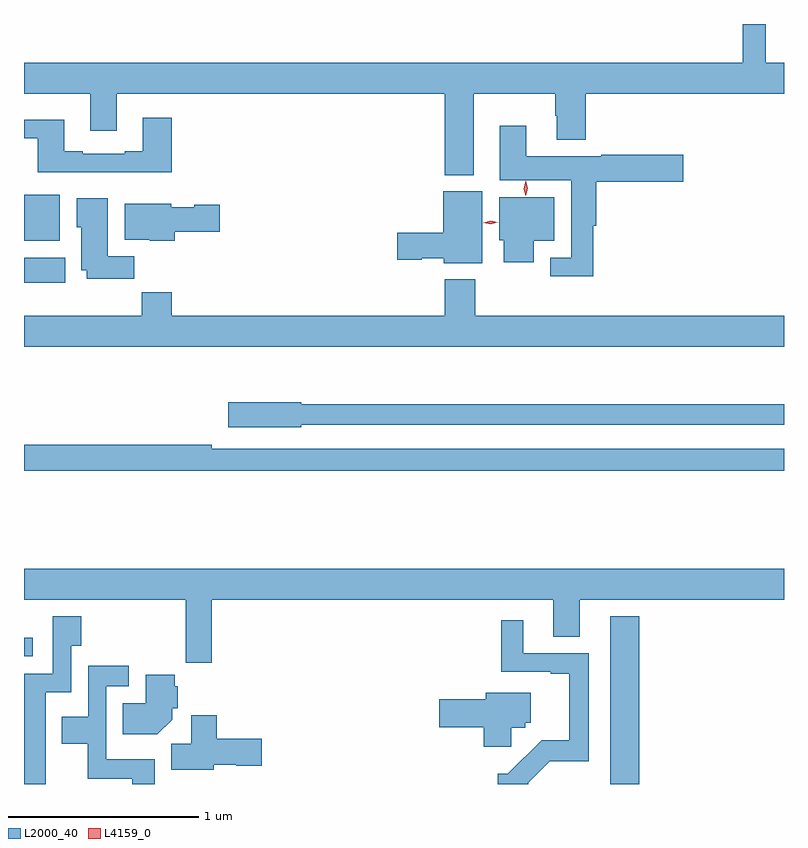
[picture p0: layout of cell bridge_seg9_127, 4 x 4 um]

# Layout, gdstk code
import gdstk
lib = gdstk.Library(unit=1e-6, precision=1e-09)
def R(c, l, rs):  # rectangles x0, y0, x1, y1
    for r in rs: c.add(gdstk.rectangle(r[:2], r[2:], *l))
def P(c, l, *ps):  # polygons
    for p in ps: c.add(gdstk.Polygon(p, *l))
L2000_40 = (2000, 40)
L4159_0 = (4159, 0)

bridge_seg9_127 = lib.new_cell('bridge_seg9_127')
R(bridge_seg9_127, L2000_40, [(480.365,1240.739,480.518,1241.623), (477.28,1241.412,477.325,1241.509), (477.28,1243.376,477.496,1243.51), (477.28,1243.598,477.469,1243.84)])
P(bridge_seg9_127, L2000_40, [(479.647,1244.372),(480.076,1244.372),(480.076,1244.256),(480.083,1244.256),(480.083,1244.129),(480.236,1244.129),(480.236,1244.372),(481.28,1244.372),(481.28,1244.536),(481.183,1244.536),(481.183,1244.739),(481.062,1244.739),(481.062,1244.536),(477.28,1244.536),(477.28,1244.372),(477.629,1244.372),(477.629,1244.178),(477.769,1244.178),(477.769,1244.372),(479.495,1244.372),(479.495,1243.943),(479.647,1243.943)],
  [(478.058,1244.245),(477.905,1244.245),(477.905,1244.068),(477.809,1244.068),(477.809,1244.055),(477.589,1244.055),(477.589,1244.068),(477.493,1244.068),(477.493,1244.236),(477.28,1244.236),(477.28,1244.139),(477.353,1244.139),(477.353,1243.958),(478.058,1243.958)],
  [(480.275,1243.677),(480.293,1243.677),(480.293,1243.91),(480.751,1243.91),(480.751,1244.052),(480.319,1244.052),(480.319,1244.044),(479.923,1244.044),(479.923,1244.203),(479.783,1244.203),(479.783,1243.916),(480.159,1243.916),(480.159,1243.509),(480.051,1243.509),(480.051,1243.412),(480.275,1243.412)],
  [(479.692,1243.858),(479.486,1243.858),(479.486,1243.64),(479.244,1243.64),(479.244,1243.498),(479.373,1243.498),(479.373,1243.505),(479.49,1243.505),(479.49,1243.481),(479.692,1243.481)],
  [(479.962,1243.598),(480.07,1243.598),(480.07,1243.828),(479.78,1243.828),(479.78,1243.602),(479.804,1243.602),(479.804,1243.484),(479.962,1243.484)],
  [(477.86,1243.516),(477.721,1243.516),(477.721,1243.822),(477.557,1243.822),(477.557,1243.668),(477.581,1243.668),(477.581,1243.442),(477.611,1243.442),(477.611,1243.398),(477.86,1243.398)],
  [(478.073,1243.645),(478.309,1243.645),(478.309,1243.787),(478.176,1243.787),(478.176,1243.774),(478.056,1243.774),(478.056,1243.792),(477.809,1243.792),(477.809,1243.604),(477.942,1243.604),(477.942,1243.598),(478.073,1243.598)],
  [(481.28,1243.204),(479.655,1243.204),(479.655,1243.396),(479.495,1243.396),(479.495,1243.204),(478.058,1243.204),(478.058,1243.328),(477.901,1243.328),(477.901,1243.204),(477.28,1243.204),(477.28,1243.04),(481.28,1243.04)],
  [(478.74,1242.63),(481.28,1242.63),(481.28,1242.739),(478.74,1242.739),(478.74,1242.747),(478.356,1242.747),(478.356,1242.617),(478.74,1242.617)],
  [(481.28,1242.504),(478.268,1242.504),(478.268,1242.524),(477.28,1242.524),(477.28,1242.388),(481.28,1242.388)],
  [(478.268,1241.708),(480.065,1241.708),(480.065,1241.514),(480.205,1241.514),(480.205,1241.708),(481.28,1241.708),(481.28,1241.872),(477.28,1241.872),(477.28,1241.708),(478.132,1241.708),(478.132,1241.376),(478.268,1241.376)],
  [(477.394,1241.222),(477.528,1241.222),(477.528,1241.467),(477.581,1241.467),(477.581,1241.623),(477.432,1241.623),(477.432,1241.319),(477.28,1241.319),(477.28,1240.739),(477.394,1240.739)],
  [(479.934,1240.746),(480.048,1240.86),(480.253,1240.86),(480.253,1241.427),(479.908,1241.427),(479.908,1241.602),(479.791,1241.602),(479.791,1241.331),(480.053,1241.331),(480.053,1241.319),(480.149,1241.319),(480.149,1240.97),(480.005,1240.97),(479.827,1240.792),(479.774,1240.792),(479.774,1240.739),(479.934,1240.739)],
  [(477.967,1240.87),(477.714,1240.87),(477.714,1241.253),(477.832,1241.253),(477.832,1241.362),(477.618,1241.362),(477.618,1241.092),(477.479,1241.092),(477.479,1240.952),(477.616,1240.952),(477.616,1240.766),(477.851,1240.766),(477.851,1240.739),(477.967,1240.739)],
  [(478.06,1241.078),(478.06,1241.139),(478.089,1241.139),(478.089,1241.253),(478.073,1241.253),(478.073,1241.314),(477.92,1241.314),(477.92,1241.164),(477.799,1241.164),(477.799,1241),(477.982,1241)],
  [(479.844,1241.034),(479.919,1241.034),(479.919,1241.061),(479.947,1241.061),(479.947,1241.218),(479.711,1241.218),(479.711,1241.186),(479.466,1241.186),(479.466,1241.039),(479.699,1241.039),(479.699,1240.935),(479.844,1240.935)],
  [(478.278,1240.841),(478.398,1240.841),(478.398,1240.834),(478.531,1240.834),(478.531,1240.976),(478.295,1240.976),(478.295,1241.101),(478.161,1241.101),(478.161,1240.952),(478.055,1240.952),(478.055,1240.814),(478.278,1240.814)])
P(bridge_seg9_127, L4159_0, [(479.921,1243.834),(479.921,1243.834),(479.911,1243.873),(479.92,1243.913),(479.92,1243.913),(479.92,1243.913),(479.931,1243.874),(479.922,1243.834)],
  [(479.736,1243.684),(479.698,1243.693),(479.698,1243.694),(479.698,1243.694),(479.736,1243.704),(479.774,1243.696),(479.774,1243.695),(479.774,1243.695)])

lib.write_gds('bridge_seg9_127.gds')
